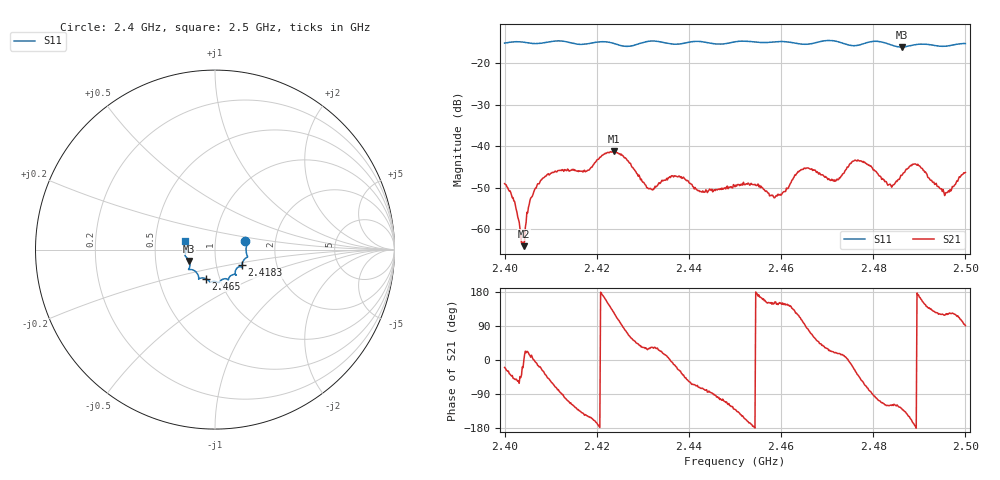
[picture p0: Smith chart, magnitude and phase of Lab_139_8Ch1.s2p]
# Hz S RI R 50
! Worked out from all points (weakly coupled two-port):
!   601 points, 2.4 GHz to 2.5 GHz, reference 50 ohm
!   highest |S21| = -41.21 dB at 2.4237 GHz (marker M1); lowest = -64.1 dB at 2.4042 GHz (marker M2)
!   lowest |S11| = -16.1 dB at 2.4862 GHz (marker M3), VSWR 1.37, Z = 37.2 - j4.83 ohm
!   |S11| at or under -10 dB: start of sweep to end of sweep
!   S12 and S22 are empty: the file has one direction only
!   S11 on the Smith chart (normalised r, x): 2.4 GHz: 1.40, +0.14; 2.4183 GHz: 1.33, -0.24; 2.465 GHz: 0.86, -0.28; 2.5 GHz: 0.71, +0.07
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2.4e9  0.1689 0.0471  0.00334 -0.0012  0 0  0 0
2.401833e9  0.1774 0.038  0.00161 -0.00179  0 0  0 0
2.404167e9  0.1777 0.026  0.000626 -1.73e-05  0 0  0 0
2.405333e9  0.1748 0.0157  0.00192 0.000487  0 0  0 0
2.407667e9  0.1739 -0.0116  0.00352 -0.00112  0 0  0 0
2.416667e9  0.1547 -0.0681  -0.00376 -0.0033  0 0  0 0
2.418333e9  0.1501 -0.0869  -0.00446 -0.00261  0 0  0 0
2.423667e9  0.1454 -0.0955  -0.00512 0.00704  0 0  0 0
2.431e9  0.1167 -0.1413  0.00281 0.00145  0 0  0 0
2.433333e9  0.1173 -0.141  0.0031 0.00161  0 0  0 0
2.436667e9  0.0939 -0.1421  0.00418 -0.000873  0 0  0 0
2.45e9  0.0259 -0.1799  -0.00212 -0.00246  0 0  0 0
2.458833e9  -0.0222 -0.1805  -0.00224 0.00113  0 0  0 0
2.465e9  -0.0524 -0.1614  -0.000609 0.00543  0 0  0 0
2.466667e9  -0.071 -0.1576  0.002 0.00498  0 0  0 0
2.472e9  -0.0905 -0.1604  0.0037 0.00126  0 0  0 0
2.477e9  -0.1216 -0.1138  0.00464 -0.00475  0 0  0 0
2.483333e9  -0.1411 -0.0966  -0.00175 -0.00297  0 0  0 0
2.486167e9  -0.1437 -0.0633  -0.00274 -0.00351  0 0  0 0
2.4895e9  -0.1644 -0.0388  -0.00591 0.000337  0 0  0 0
2.495833e9  -0.1604 0.0139  -0.00148 0.00234  0 0  0 0
2.5e9  -0.1666 0.047  -6.61e-05 0.00484  0 0  0 0
